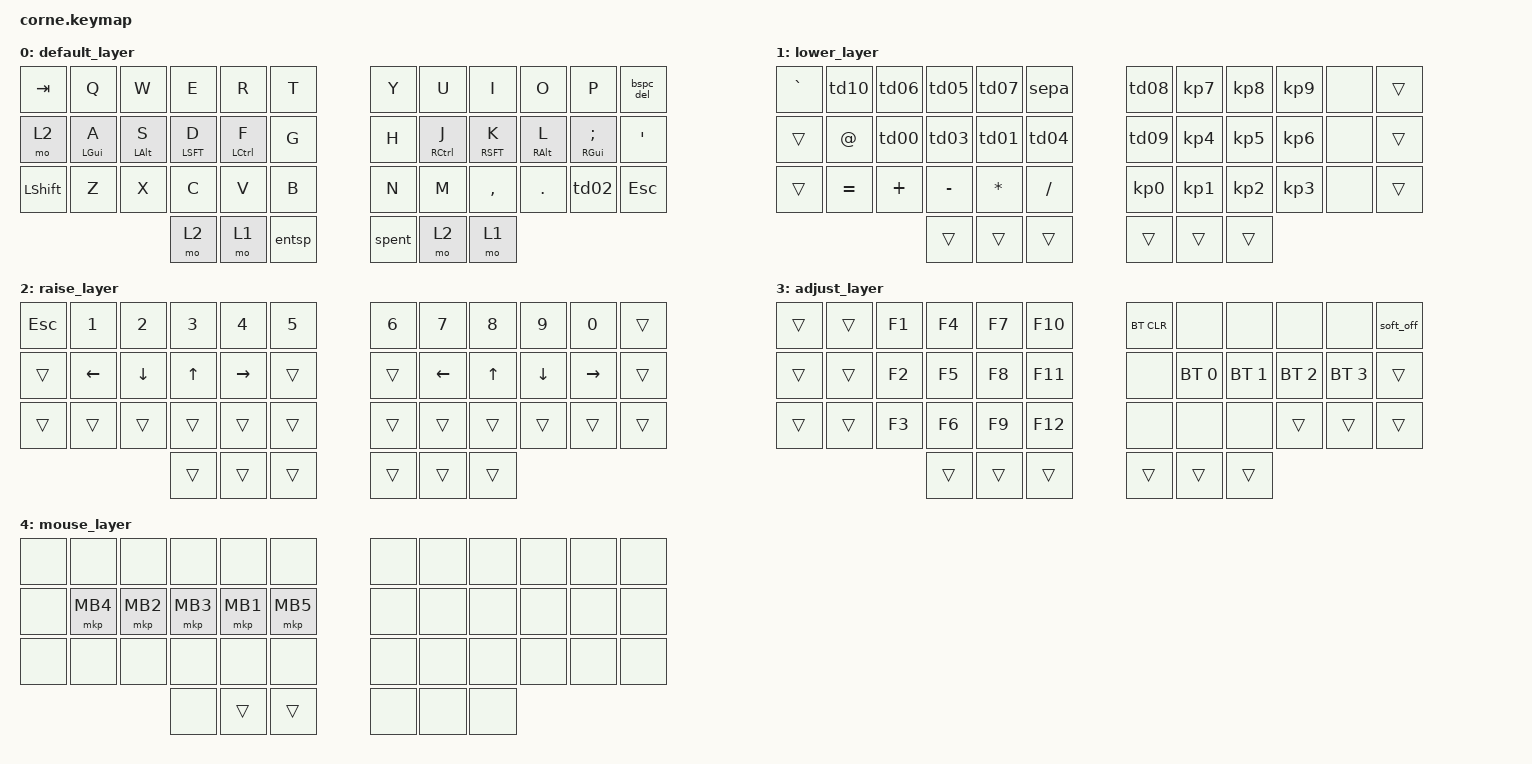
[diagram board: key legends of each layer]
/*
 * Copyright (c) 2020 The ZMK Contributors
 *
 * SPDX-License-Identifier: MIT
 */

#include <behaviors.dtsi>
#include <dt-bindings/zmk/keys.h>
#include <dt-bindings/zmk/mouse.h>
#include <dt-bindings/zmk/bt.h>

&mt {
	flavor = "tap-preferred";
};

/ {
	combos{
		compatible = "zmk,combos";
		combo_btfn {
			timeout-ms = <50>;
			key-positions = <0 12>;
			bindings = <&mo 3>;
			layers = <2>;
		};
		combo_btcl {
			timeout-ms = <50>;
			key-positions = <7 8 9>;
			bindings = <&bt BT_CLR>;
			layers = <3>;
		};
		combo_mbtn {
			timeout-ms = <50>;
			key-positions = <37 38>;
			bindings = <&mo 4>;
		};
	};

	macros {
		sepa: separator {
			compatible = "zmk,behavior-macro"; 
			#binding-cells = <0>; 
			bindings = <&macro_tap &kp COMMA &kp SPACE>;
		};
	};

	behaviors {
		bspc_del: backspace_delete {
			compatible = "zmk,behavior-mod-morph";
			#binding-cells = <0>;
			bindings = <&kp BACKSPACE>, <&kp DELETE>;
			mods = <(MOD_LSFT|MOD_RSFT)>;
		};
		spent: space_enter {
			compatible = "zmk,behavior-mod-morph";
			#binding-cells = <0>;
			bindings = <&kp SPACE>, <&kp RET>;
			mods = <(MOD_RSFT)>;
		};
		entsp: enter_space {
			compatible = "zmk,behavior-mod-morph";
			#binding-cells = <0>;
			bindings = <&kp RET>, <&kp SPACE>;
			mods = <(MOD_LSFT)>;
		};
		td00: tap_dance_00 {
			compatible = "zmk,behavior-tap-dance";
			#binding-cells = <0>;
			tapping-term-ms = <200>;
			bindings = <&kp LPAR>, <&kp LBKT>;
		};
		td01: tap_dance_01 {
			compatible = "zmk,behavior-tap-dance";
			#binding-cells = <0>;
			tapping-term-ms = <200>;
			bindings = <&kp RPAR>, <&kp RBKT>;
		};
		td02: tap_dance_02 {
			compatible = "zmk,behavior-tap-dance";
			#binding-cells = <0>;
			tapping-term-ms = <200>;
			bindings = <&kp FSLH>, <&kp BSLH>;
		};
		td03: tap_dance_03 {
			compatible = "zmk,behavior-tap-dance";
			#binding-cells = <0>;
			tapping-term-ms = <200>;
			bindings = <&kp UNDER>, <&kp EQUAL>;
		};
		td04: tap_dance_04 {
			compatible = "zmk,behavior-tap-dance";
			#binding-cells = <0>;
			tapping-term-ms = <200>;
			bindings = <&kp AMPS>, <&kp PIPE>;
		};
		td05: tap_dance_05 {
			compatible = "zmk,behavior-tap-dance";
			#binding-cells = <0>;
			tapping-term-ms = <200>;
			bindings = <&kp STAR>, <&kp CARET>;
		};
		td06: tap_dance_06 {
			compatible = "zmk,behavior-tap-dance";
			#binding-cells = <0>;
			tapping-term-ms = <200>;
			bindings = <&kp DLLR>, <&kp PRCNT>;
		};
		td07: tap_dance_07 {
			compatible = "zmk,behavior-tap-dance";
			#binding-cells = <0>;
			tapping-term-ms = <200>;
			bindings = <&kp LT>, <&kp GT>;
		};
		td08: tap_dance_08 {
			compatible = "zmk,behavior-tap-dance";
			#binding-cells = <0>;
			tapping-term-ms = <200>;
			bindings = <&kp KP_MINUS>, <&kp KP_DIVIDE>;
		};
		td09: tap_dance_09 {
			compatible = "zmk,behavior-tap-dance";
			#binding-cells = <0>;
			tapping-term-ms = <200>;
			bindings = <&kp KP_PLUS>, <&kp KP_MULTIPLY>;
		};
		td10: tap_dance_10 {
			compatible = "zmk,behavior-tap-dance";
			#binding-cells = <0>;
			tapping-term-ms = <200>;
			bindings = <&kp HASH>, <&kp EXCL>;
		};
	};

	keymap {
		compatible = "zmk,keymap";
		default_layer {
			bindings = <
		&kp TAB		&kp Q		&kp W		&kp E		&kp R		&kp T			&kp Y	&kp U		&kp I		&kp O		&kp P			&bspc_del
		&mo 2		&mt LGUI A	&mt LALT S	&mt LSFT D	&mt LCTL F	&kp G			&kp H	&mt RCTL J	&mt RSFT K	&mt RALT L	&mt RGUI SEMI	&kp SQT
		&kp LSHFT	&kp Z		&kp X		&kp C		&kp V		&kp B			&kp N	&kp M		&kp COMMA	&kp DOT		&td02			&kp ESC
											&mo 2		&mo 1		&entsp			&spent	&mo 2		&mo 1
			>;
		};

		lower_layer {
			bindings = <
		&kp GRAVE	&td10		&td06		&td05		&td07		&sepa			&td08		&kp KP_N7	&kp KP_N8	&kp KP_N9	&none	&trans
		&trans		&kp AT		&td00		&td03		&td01		&td04			&td09		&kp KP_N4	&kp KP_N5	&kp KP_N6	&none	&trans
		&trans		&kp EQUAL	&kp PLUS	&kp MINUS	&kp STAR	&kp FSLH		&kp KP_N0	&kp KP_N1	&kp KP_N2	&kp KP_N3	&none	&trans
											&trans		&trans		&trans			&trans		&trans		&trans
			>;
		};

		raise_layer {
			bindings = <
		&kp ESC		&kp N1		&kp N2		&kp N3	&kp N4		&kp N5		&kp N6		&kp N7		&kp N8		&kp N9		&kp N0		&trans
		&trans		&kp LEFT	&kp DOWN	&kp UP	&kp RIGHT	&trans		&trans		&kp LEFT	&kp UP		&kp DOWN	&kp RIGHT	&trans
		&trans		&trans		&trans		&trans	&trans		&trans		&trans		&trans		&trans		&trans		&trans		&trans
											&trans	&trans		&trans		&trans		&trans		&trans
			>;
		};

		adjust_layer {
			bindings = <
		&trans	&trans	&kp F1	&kp F4	&kp F7	&kp F10						&bt BT_CLR	&none			&none			&none			&none			&soft_off
		&trans	&trans	&kp F2	&kp F5	&kp F8	&kp F11						&none	&bt BT_SEL 0	&bt BT_SEL 1	&bt BT_SEL 2	&bt BT_SEL 3	&trans
		&trans	&trans	&kp F3	&kp F6	&kp F9	&kp F12						&none	&none			&none			&trans			&trans			&trans
								&trans	&trans	&trans						&trans	&trans			&trans
			>;
		};

		mouse_layer {
			bindings = <
		&none	&none		&none		&none		&none		&none		&none	&none	&none	&none	&none	&none
		&none	&mkp MB4	&mkp MB2	&mkp MB3	&mkp MB1	&mkp MB5	&none	&none	&none	&none	&none	&none
		&none	&none		&none		&none		&none		&none		&none	&none	&none	&none	&none	&none
										&none		&trans		&trans		&none	&none	&none
			>;
		};
	};
};
